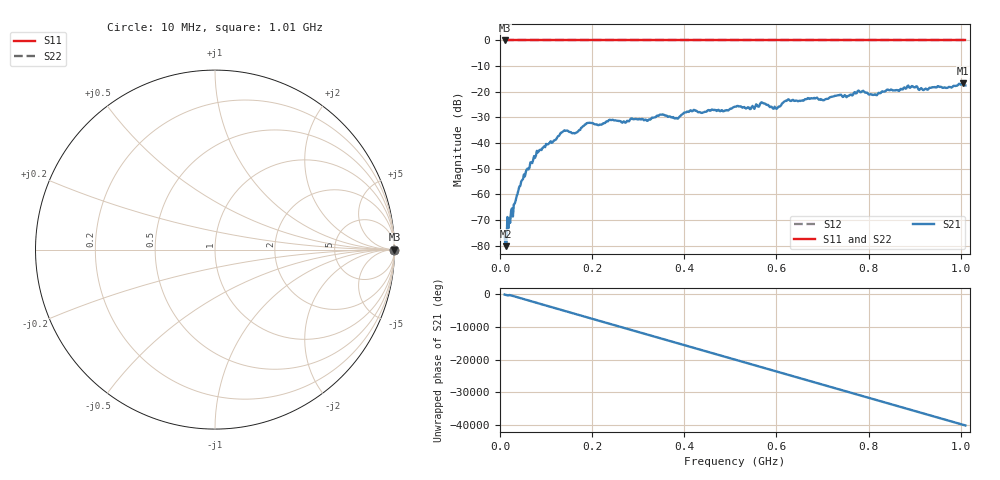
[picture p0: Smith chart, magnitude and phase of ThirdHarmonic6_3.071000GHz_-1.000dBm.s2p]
! 8/17/2025 8:58:43 AM
! C:\ANRITSUVNA\TEMP\TEMP.S2P
! CHANNEL.1
! TR.MEASUREMENT
! RAW.DATA
! RF.CORRECTION.OFF
! AVERAGING.OFF
! IF.BANDWIDTH: 5KHZ
! SWEEPTYPE:  FREQ.SWEEP(Linear)
! Reference Plane Port Info
! PORT:  PORT1  PORT2
! DISTANCE:  0  m  0  m
! TIME:  0  s  0  s
! PHASE.OFFSET:  0  deg.  0  deg.
! LOSS:  0  dB  0  dB
! REF.LOSS:  0  dB  0  dB
! REF.FREQ:  0  Hz  0  Hz
! Power Info
! POWER:  -20  dBm  -20  dBm
! EFF.POWER:  -20  dBm  -20  dBm
! SOURCE.ATTEN:  0  dB  0  dB
! TEST.ATTEN:  0  dB  0  dB
# GHZ S RI R 50.0
! FREQ.GHZ  S11RE  S11IM  S21RE  S21IM  S12RE  S12IM  S22RE  S22IM
!; PortSelection: Port_12
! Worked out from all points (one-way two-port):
!   501 points, 10 MHz to 1.01 GHz, reference 50 ohm
!   highest |S21| = -16.74 dB at 1.004 GHz (marker M1); lowest = -80.2 dB at 12 MHz (marker M2)
!   lowest |S11| = 0.0 dB at 10 MHz (marker M3)
!   |S11| at or under -10 dB: nowhere
!   |S22| runs from 0.0 to 0.0 dB; largest |S21 - S12| = 1.1
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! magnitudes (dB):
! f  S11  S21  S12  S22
! 10 MHz  0.0  -76.4  0.0  0.0
! 12 MHz  0.0  -80.2  0.0  0.0
! 20 MHz  0.0  -69.1  0.0  0.0
! 44 MHz  0.0  -56.7  0.0  0.0
! 78 MHz  0.0  -44.8  0.0  0.0
! 136 MHz  0.0  -35.6  0.0  0.0
! 162 MHz  0.0  -36.2  0.0  0.0
! 178 MHz  0.0  -33.8  0.0  0.0
! 192 MHz  0.0  -32.1  0.0  0.0
! 344 MHz  0.0  -29.4  0.0  0.0
! 382 MHz  0.0  -30.2  0.0  0.0
! 416 MHz  0.0  -27.6  0.0  0.0
! 510 MHz  0.0  -25.8  0.0  0.0
! 570 MHz  0.0  -24.3  0.0  0.0
! 598 MHz  0.0  -26.3  0.0  0.0
! 622 MHz  0.0  -23.5  0.0  0.0
! 678 MHz  0.0  -22.5  0.0  0.0
! 780 MHz  0.0  -19.8  0.0  0.0
! 814 MHz  0.0  -21.0  0.0  0.0
! 844 MHz  0.0  -19.4  0.0  0.0
! 1.004 GHz  0.0  -16.7  0.0  0.0
! 1.01 GHz  0.0  -17.5  0.0  0.0
